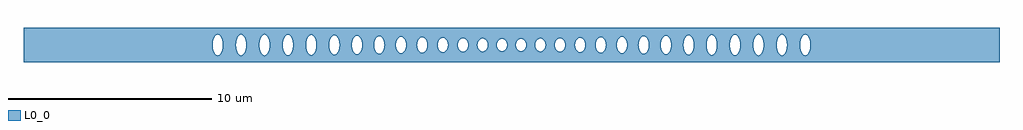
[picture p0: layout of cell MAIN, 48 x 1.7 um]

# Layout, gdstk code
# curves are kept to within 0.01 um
import gdstk
lib = gdstk.Library(unit=1e-6, precision=1e-09)
def P(c, l, *ps):  # polygons
    for p in ps: c.add(gdstk.Polygon(p, *l))
L0_0 = (0, 0)

main = lib.new_cell('MAIN')
P(main, L0_0, [(-14.538,-0.487),(-14.602,-0.417),(-14.659,-0.296),(-14.659,-0.85),(-14.538,-0.85)],
  [(-14.532,0.492),(-14.463,0.52),(-14.384,0.505),(-14.311,0.442),(-14.251,0.337),(-14.251,0.85),(-14.538,0.85)],
  [(-14.251,-0.337),(-14.311,-0.442),(-14.384,-0.505),(-14.463,-0.52),(-14.538,-0.487),(-14.538,-0.85),(-14.251,-0.85)],
  [(24,0.85),(14.659,0.85),(14.659,0.296),(14.691,0.165),(14.705,0.013),(14.698,-0.121),(14.659,-0.296),(14.659,-0.85),(24,-0.85)],
  [(-13.52,0.258),(-13.466,0.392),(-13.399,0.478),(-13.328,0.517),(-13.255,0.514),(-13.255,0.85),(-13.521,0.85)],
  [(-13.255,-0.514),(-13.328,-0.517),(-13.399,-0.478),(-13.466,-0.392),(-13.521,-0.253),(-13.521,-0.85),(-13.255,-0.85)],
  [(-13.043,0.85),(-13.255,0.85),(-13.255,0.514),(-13.194,0.478),(-13.122,0.384),(-13.071,0.253),(-13.043,0.096)],
  [(-13.043,-0.096),(-13.071,-0.253),(-13.122,-0.384),(-13.194,-0.478),(-13.255,-0.514),(-13.255,-0.85),(-13.043,-0.85)],
  [(-13.554,0.006),(-13.521,0.253),(-13.521,0.85),(-14.251,0.85),(-14.251,0.337),(-14.207,0.189),(-14.19,0)],
  [(-12.273,0.452),(-12.209,0.505),(-12.123,0.519),(-12.049,0.483),(-11.984,0.405),(-11.984,0.85),(-12.279,0.85)],
  [(-11.984,-0.405),(-12.049,-0.483),(-12.13,-0.52),(-12.209,-0.505),(-12.279,-0.445),(-12.279,-0.85),(-11.984,-0.85)],
  [(-12.403,0.006),(-12.371,0.253),(-12.329,0.366),(-12.279,0.445),(-12.279,0.85),(-13.043,0.85),(-13.039,0)],
  [(-11.238,0.17),(-11.195,0.326),(-11.141,0.426),(-11.069,0.495),(-11,0.516),(-11,0.85),(-11.239,0.85)],
  [(-11,-0.516),(-11.081,-0.487),(-11.154,-0.407),(-11.21,-0.285),(-11.239,-0.164),(-11.239,-0.85),(-11,-0.85)],
  [(-10.993,0.516),(-10.921,0.495),(-10.846,0.422),(-10.787,0.306),(-10.754,0.182),(-10.754,0.85),(-11,0.85)],
  [(-10.754,-0.182),(-10.787,-0.306),(-10.854,-0.433),(-10.921,-0.495),(-11,-0.516),(-11,-0.85),(-10.754,-0.85)],
  [(-11.252,0.006),(-11.239,0.164),(-11.239,0.85),(-11.984,0.85),(-11.984,0.405),(-11.913,0.224),(-11.888,0)],
  [(-10.012,0.389),(-9.943,0.47),(-9.868,0.504),(-9.787,0.491),(-9.716,0.433),(-9.716,0.85),(-10.015,0.85)],
  [(-9.716,-0.433),(-9.787,-0.491),(-9.868,-0.504),(-9.943,-0.47),(-10.015,-0.385),(-10.015,-0.85),(-9.716,-0.85)],
  [(-10.106,0.006),(-10.083,0.209),(-10.015,0.385),(-10.015,0.85),(-10.754,0.85),(-10.754,0.182),(-10.737,0)],
  [(-8.965,0.105),(-8.937,0.244),(-8.89,0.356),(-8.822,0.443),(-8.74,0.485),(-8.74,0.85),(-8.966,0.85)],
  [(-8.74,-0.485),(-8.822,-0.443),(-8.89,-0.356),(-8.937,-0.244),(-8.966,-0.099),(-8.966,-0.85),(-8.74,-0.85)],
  [(-8.733,0.487),(-8.645,0.471),(-8.576,0.413),(-8.521,0.325),(-8.477,0.194),(-8.477,0.85),(-8.74,0.85)],
  [(-8.477,-0.194),(-8.521,-0.325),(-8.585,-0.423),(-8.658,-0.477),(-8.74,-0.485),(-8.74,-0.85),(-8.477,-0.85)],
  [(-8.971,0.006),(-8.966,0.85),(-9.716,0.85),(-9.716,0.433),(-9.667,0.359),(-9.624,0.249),(-9.591,0)],
  [(-7.763,0.356),(-7.694,0.432),(-7.613,0.466),(-7.526,0.449),(-7.456,0.391),(-7.456,0.85),(-7.766,0.85)],
  [(-7.456,-0.391),(-7.526,-0.449),(-7.613,-0.466),(-7.694,-0.432),(-7.766,-0.352),(-7.766,-0.85),(-7.456,-0.85)],
  [(-7.854,0.003),(-7.833,0.187),(-7.766,0.352),(-7.766,0.85),(-8.477,0.85),(-8.477,0.194),(-8.456,0)],
  [(-6.748,0.134),(-6.702,0.28),(-6.649,0.364),(-6.574,0.425),(-6.488,0.442),(-6.488,0.85),(-6.749,0.85)],
  [(-6.488,-0.442),(-6.574,-0.425),(-6.649,-0.364),(-6.708,-0.266),(-6.749,-0.129),(-6.749,-0.85),(-6.488,-0.85)],
  [(-6.249,0.85),(-6.488,0.85),(-6.488,0.442),(-6.401,0.407),(-6.334,0.335),(-6.279,0.221),(-6.249,0.083)],
  [(-6.249,-0.083),(-6.279,-0.221),(-6.334,-0.335),(-6.401,-0.407),(-6.488,-0.442),(-6.488,-0.85),(-6.249,-0.85)],
  [(-6.76,0.006),(-6.749,0.85),(-7.456,0.85),(-7.456,0.391),(-7.37,0.222),(-7.339,0)],
  [(-5.529,0.387),(-5.449,0.416),(-5.361,0.4),(-5.293,0.35),(-5.222,0.238),(-5.222,0.85),(-5.535,0.85)],
  [(-5.222,-0.238),(-5.293,-0.35),(-5.361,-0.4),(-5.449,-0.416),(-5.535,-0.382),(-5.535,-0.85),(-5.222,-0.85)],
  [(-5.691,0.006),(-5.677,0.136),(-5.648,0.229),(-5.591,0.33),(-5.535,0.382),(-5.535,0.85),(-6.249,0.85),(-6.245,0)],
  [(-4.573,0.276),(-4.505,0.351),(-4.417,0.389),(-4.326,0.378),(-4.243,0.319),(-4.243,0.85),(-4.576,0.85)],
  [(-4.243,-0.319),(-4.326,-0.378),(-4.417,-0.389),(-4.505,-0.351),(-4.576,-0.272),(-4.576,-0.85),(-4.243,-0.85)],
  [(-4.648,0.006),(-4.63,0.147),(-4.576,0.272),(-4.576,0.85),(-5.222,0.85),(-5.222,0.238),(-5.192,0.147),(-5.176,0)],
  [(-3.605,0.167),(-3.548,0.273),(-3.467,0.343),(-3.389,0.366),(-3.288,0.345),(-3.288,0.85),(-3.607,0.85)],
  [(-3.288,-0.345),(-3.389,-0.366),(-3.474,-0.339),(-3.548,-0.273),(-3.607,-0.162),(-3.607,-0.85),(-3.288,-0.85)],
  [(-3.633,0.005),(-3.607,0.162),(-3.607,0.85),(-4.243,0.85),(-4.243,0.319),(-4.163,0.182),(-4.134,0)],
  [(-2.636,0.083),(-2.6,0.192),(-2.528,0.288),(-2.435,0.339),(-2.345,0.34),(-2.345,0.85),(-2.637,0.85)],
  [(-2.345,-0.34),(-2.435,-0.339),(-2.528,-0.288),(-2.6,-0.192),(-2.637,-0.078),(-2.637,-0.85),(-2.345,-0.85)],
  [(-2.643,0.005),(-2.637,0.85),(-3.288,0.85),(-3.288,0.345),(-3.225,0.297),(-3.166,0.213),(-3.128,0.101),(-3.118,0)],
  [(-1.675,0.028),(-1.653,0.136),(-1.591,0.243),(-1.514,0.305),(-1.407,0.327),(-1.407,0.85),(-1.675,0.85)],
  [(-1.407,-0.327),(-1.514,-0.305),(-1.591,-0.243),(-1.653,-0.136),(-1.675,-0.023),(-1.675,-0.85),(-1.407,-0.85)],
  [(-1.676,0.003),(-1.675,0.85),(-2.345,0.85),(-2.345,0.34),(-2.257,0.299),(-2.191,0.226),(-2.145,0.123),(-2.129,0)],
  [(-0.726,0.005),(-0.705,0.127),(-0.647,0.229),(-0.561,0.296),(-0.469,0.316),(-0.469,0.85),(-0.726,0.85)],
  [(-0.469,-0.316),(-0.561,-0.296),(-0.647,-0.229),(-0.705,-0.127),(-0.726,0),(-0.726,-0.85),(-0.469,-0.85)],
  [(-0.212,0.85),(-0.469,0.85),(-0.469,0.316),(-0.369,0.292),(-0.285,0.222),(-0.228,0.113),(-0.212,0)],
  [(-0.212,0),(-0.228,-0.113),(-0.285,-0.222),(-0.369,-0.292),(-0.469,-0.316),(-0.469,-0.85),(-0.212,-0.85)],
  [(0.212,0.005),(0.231,0.122),(0.285,0.222),(0.369,0.292),(0.465,0.316),(0.465,0.85),(-0.212,0.85),(-0.212,0)],
  [(0.465,-0.316),(0.369,-0.292),(0.285,-0.222),(0.228,-0.113),(0.212,0),(-0.212,0),(-0.212,-0.85),(0.465,-0.85)],
  [(0.473,0.316),(0.561,0.296),(0.647,0.229),(0.705,0.127),(0.726,0.005),(0.726,0.85),(0.465,0.85)],
  [(0.726,-0.005),(0.705,-0.127),(0.647,-0.229),(0.561,-0.296),(0.465,-0.316),(0.465,-0.85),(0.726,-0.85)],
  [(-0.726,0.85),(-1.407,0.85),(-1.407,0.327),(-1.325,0.306),(-1.241,0.238),(-1.18,0.125),(-1.161,0),(-0.726,0)],
  [(1.409,0.328),(1.512,0.306),(1.596,0.238),(1.652,0.139),(1.675,0.031),(1.675,0.85),(1.401,0.85)],
  [(1.675,-0.031),(1.645,-0.157),(1.578,-0.258),(1.493,-0.314),(1.401,-0.327),(1.401,-0.85),(1.675,-0.85)],
  [(1.161,0.003),(1.175,0.108),(1.231,0.225),(1.312,0.299),(1.401,0.327),(1.401,0.85),(0.726,0.85),(0.726,0)],
  [(2.349,0.341),(2.442,0.337),(2.528,0.288),(2.6,0.192),(2.636,0.083),(2.636,0.85),(2.341,0.85)],
  [(2.636,-0.083),(2.6,-0.192),(2.528,-0.288),(2.435,-0.339),(2.341,-0.34),(2.341,-0.85),(2.636,-0.85)],
  [(2.129,0.005),(2.145,0.123),(2.191,0.226),(2.257,0.299),(2.341,0.34),(2.341,0.85),(1.675,0.85),(1.676,0)],
  [(3.292,0.346),(3.389,0.366),(3.474,0.339),(3.548,0.273),(3.605,0.167),(3.605,0.85),(3.285,0.85)],
  [(3.605,-0.167),(3.548,-0.273),(3.467,-0.343),(3.389,-0.366),(3.285,-0.343),(3.285,-0.85),(3.605,-0.85)],
  [(3.118,0.005),(3.128,0.101),(3.166,0.213),(3.225,0.297),(3.285,0.343),(3.285,0.85),(2.636,0.85),(2.643,0)],
  [(4.246,0.322),(4.336,0.382),(4.417,0.389),(4.505,0.351),(4.573,0.276),(4.573,0.85),(4.24,0.85)],
  [(4.573,-0.276),(4.495,-0.358),(4.409,-0.39),(4.319,-0.375),(4.24,-0.316),(4.24,-0.85),(4.573,-0.85)],
  [(4.134,0.006),(4.163,0.182),(4.24,0.316),(4.24,0.85),(3.605,0.85),(3.605,0.167),(3.633,0)],
  [(5.222,0.238),(5.293,0.35),(5.361,0.4),(5.449,0.416),(5.532,0.384),(5.532,0.85),(5.22,0.85)],
  [(5.532,-0.384),(5.449,-0.416),(5.361,-0.4),(5.276,-0.33),(5.22,-0.233),(5.22,-0.85),(5.532,-0.85)],
  [(5.176,0.006),(5.192,0.147),(5.22,0.233),(5.22,0.85),(4.573,0.85),(4.573,0.276),(4.63,0.147),(4.648,0)],
  [(6.249,0.083),(6.279,0.221),(6.334,0.335),(6.401,0.407),(6.485,0.441),(6.485,0.85),(6.249,0.85)],
  [(6.485,-0.441),(6.401,-0.407),(6.334,-0.335),(6.279,-0.221),(6.249,-0.077),(6.249,-0.85),(6.485,-0.85)],
  [(6.492,0.442),(6.574,0.425),(6.649,0.364),(6.702,0.28),(6.748,0.134),(6.748,0.85),(6.485,0.85)],
  [(6.748,-0.134),(6.702,-0.28),(6.649,-0.364),(6.574,-0.425),(6.485,-0.441),(6.485,-0.85),(6.748,-0.85)],
  [(6.245,0.006),(6.249,0.85),(5.532,0.85),(5.532,0.384),(5.591,0.33),(5.648,0.229),(5.677,0.136),(5.691,0)],
  [(7.458,0.392),(7.534,0.453),(7.611,0.466),(7.696,0.431),(7.762,0.358),(7.762,0.85),(7.452,0.85)],
  [(7.762,-0.358),(7.696,-0.431),(7.611,-0.466),(7.534,-0.453),(7.452,-0.386),(7.452,-0.85),(7.762,-0.85)],
  [(7.339,0.003),(7.371,0.225),(7.452,0.386),(7.452,0.85),(6.748,0.85),(6.748,0.134),(6.76,0)],
  [(8.477,0.194),(8.521,0.325),(8.576,0.413),(8.658,0.477),(8.737,0.486),(8.737,0.85),(8.476,0.85)],
  [(8.737,-0.486),(8.658,-0.477),(8.576,-0.413),(8.521,-0.325),(8.476,-0.188),(8.476,-0.85),(8.737,-0.85)],
  [(8.965,0.85),(8.737,0.85),(8.737,0.486),(8.822,0.443),(8.89,0.356),(8.937,0.244),(8.965,0.105)],
  [(8.965,-0.105),(8.937,-0.244),(8.89,-0.356),(8.822,-0.443),(8.737,-0.486),(8.737,-0.85),(8.965,-0.85)],
  [(8.456,0.006),(8.476,0.188),(8.476,0.85),(7.762,0.85),(7.762,0.358),(7.831,0.195),(7.854,0)],
  [(9.719,0.436),(9.787,0.491),(9.868,0.504),(9.943,0.47),(10.012,0.389),(10.012,0.85),(9.713,0.85)],
  [(10.012,-0.389),(9.943,-0.47),(9.868,-0.504),(9.787,-0.491),(9.713,-0.43),(9.713,-0.85),(10.012,-0.85)],
  [(9.591,0.006),(9.624,0.249),(9.658,0.341),(9.713,0.43),(9.713,0.85),(8.965,0.85),(8.971,0)],
  [(10.754,0.182),(10.787,0.306),(10.846,0.422),(10.921,0.495),(10.996,0.516),(10.996,0.85),(10.753,0.85)],
  [(10.996,-0.516),(10.921,-0.495),(10.846,-0.422),(10.787,-0.306),(10.753,-0.176),(10.753,-0.85),(10.996,-0.85)],
  [(11.238,0.85),(10.996,0.85),(10.996,0.516),(11.069,0.495),(11.141,0.426),(11.195,0.326),(11.238,0.17)],
  [(11.238,-0.17),(11.195,-0.326),(11.141,-0.426),(11.069,-0.495),(10.996,-0.516),(10.996,-0.85),(11.238,-0.85)],
  [(10.737,0.006),(10.753,0.176),(10.753,0.85),(10.012,0.85),(10.012,0.389),(10.083,0.209),(10.106,0)],
  [(11.984,0.405),(12.049,0.483),(12.123,0.519),(12.209,0.505),(12.276,0.449),(12.276,0.85),(11.981,0.85)],
  [(12.276,-0.449),(12.209,-0.505),(12.123,-0.519),(12.049,-0.483),(11.981,-0.401),(11.981,-0.85),(12.276,-0.85)],
  [(11.888,0.006),(11.913,0.224),(11.981,0.401),(11.981,0.85),(11.238,0.85),(11.238,0.17),(11.252,0)],
  [(13.043,0.096),(13.071,0.253),(13.122,0.384),(13.194,0.478),(13.252,0.513),(13.252,0.85),(13.043,0.85)],
  [(13.252,-0.513),(13.171,-0.455),(13.113,-0.366),(13.065,-0.23),(13.043,-0.09),(13.043,-0.85),(13.252,-0.85)],
  [(13.258,0.515),(13.328,0.517),(13.399,0.478),(13.466,0.392),(13.52,0.258),(13.52,0.85),(13.252,0.85)],
  [(13.52,-0.258),(13.466,-0.392),(13.399,-0.478),(13.328,-0.517),(13.252,-0.513),(13.252,-0.85),(13.52,-0.85)],
  [(13.039,0.006),(13.043,0.85),(12.276,0.85),(12.276,0.449),(12.329,0.366),(12.371,0.253),(12.403,0)],
  [(14.251,0.337),(14.311,0.442),(14.384,0.505),(14.463,0.52),(14.535,0.49),(14.535,0.85),(14.249,0.85)],
  [(14.535,-0.49),(14.463,-0.52),(14.384,-0.505),(14.311,-0.442),(14.249,-0.332),(14.249,-0.85),(14.535,-0.85)],
  [(-14.659,-0.296),(-14.691,-0.165),(-14.705,-0.013),(-14.698,0.121),(-14.659,0.296),(-14.659,0.85),(-24,0.85),(-24,-0.85),(-14.659,-0.85)],
  [(-14.657,0.302),(-14.602,0.417),(-14.538,0.487),(-14.538,0.85),(-14.659,0.85)],
  [(14.659,0.85),(14.535,0.85),(14.535,0.49),(14.602,0.417),(14.659,0.296)],
  [(14.659,-0.296),(14.602,-0.417),(14.535,-0.49),(14.535,-0.85),(14.659,-0.85)],
  [(-13.521,-0.253),(-13.554,0),(-14.19,0),(-14.207,-0.189),(-14.251,-0.337),(-14.251,-0.85),(-13.521,-0.85)],
  [(-12.279,-0.445),(-12.329,-0.366),(-12.371,-0.253),(-12.403,0),(-13.039,0),(-13.043,-0.85),(-12.279,-0.85)],
  [(-11.239,-0.164),(-11.252,0),(-11.888,0),(-11.913,-0.224),(-11.984,-0.405),(-11.984,-0.85),(-11.239,-0.85)],
  [(-10.015,-0.385),(-10.083,-0.209),(-10.106,0),(-10.737,0),(-10.754,-0.182),(-10.754,-0.85),(-10.015,-0.85)],
  [(-8.966,-0.099),(-8.971,0),(-9.591,0),(-9.624,-0.249),(-9.658,-0.341),(-9.716,-0.433),(-9.716,-0.85),(-8.966,-0.85)],
  [(-7.766,-0.352),(-7.833,-0.187),(-7.854,0),(-8.456,0),(-8.477,-0.194),(-8.477,-0.85),(-7.766,-0.85)],
  [(-6.749,-0.129),(-6.76,0),(-7.339,0),(-7.37,-0.222),(-7.456,-0.391),(-7.456,-0.85),(-6.749,-0.85)],
  [(-5.535,-0.382),(-5.591,-0.33),(-5.648,-0.229),(-5.677,-0.136),(-5.691,0),(-6.245,0),(-6.249,-0.85),(-5.535,-0.85)],
  [(-4.576,-0.272),(-4.63,-0.147),(-4.648,0),(-5.176,0),(-5.192,-0.147),(-5.222,-0.238),(-5.222,-0.85),(-4.576,-0.85)],
  [(-3.607,-0.162),(-3.633,0),(-4.134,0),(-4.163,-0.182),(-4.243,-0.319),(-4.243,-0.85),(-3.607,-0.85)],
  [(-2.637,-0.078),(-2.643,0),(-3.118,0),(-3.128,-0.101),(-3.166,-0.213),(-3.225,-0.297),(-3.288,-0.345),(-3.288,-0.85),(-2.637,-0.85)],
  [(-1.675,-0.023),(-1.676,0),(-2.129,0),(-2.145,-0.123),(-2.191,-0.226),(-2.257,-0.299),(-2.345,-0.34),(-2.345,-0.85),(-1.675,-0.85)],
  [(-0.726,0),(-1.161,0),(-1.18,-0.125),(-1.241,-0.238),(-1.325,-0.306),(-1.407,-0.327),(-1.407,-0.85),(-0.726,-0.85)],
  [(1.401,-0.327),(1.312,-0.299),(1.231,-0.225),(1.175,-0.108),(1.161,0),(0.726,0),(0.726,-0.85),(1.401,-0.85)],
  [(2.341,-0.34),(2.257,-0.299),(2.186,-0.218),(2.145,-0.123),(2.129,0),(1.676,0),(1.675,-0.85),(2.341,-0.85)],
  [(3.285,-0.343),(3.225,-0.297),(3.166,-0.213),(3.128,-0.101),(3.118,0),(2.643,0),(2.636,-0.85),(3.285,-0.85)],
  [(4.24,-0.316),(4.163,-0.182),(4.134,0),(3.633,0),(3.605,-0.167),(3.605,-0.85),(4.24,-0.85)],
  [(5.22,-0.233),(5.192,-0.147),(5.176,0),(4.648,0),(4.63,-0.147),(4.573,-0.276),(4.573,-0.85),(5.22,-0.85)],
  [(6.249,-0.077),(6.245,0),(5.691,0),(5.677,-0.136),(5.648,-0.229),(5.591,-0.33),(5.532,-0.384),(5.532,-0.85),(6.249,-0.85)],
  [(7.452,-0.386),(7.371,-0.225),(7.339,0),(6.76,0),(6.748,-0.134),(6.748,-0.85),(7.452,-0.85)],
  [(8.476,-0.188),(8.456,0),(7.854,0),(7.831,-0.195),(7.762,-0.358),(7.762,-0.85),(8.476,-0.85)],
  [(9.713,-0.43),(9.658,-0.341),(9.624,-0.249),(9.591,0),(8.971,0),(8.965,-0.85),(9.713,-0.85)],
  [(10.753,-0.176),(10.737,0),(10.106,0),(10.083,-0.209),(10.012,-0.389),(10.012,-0.85),(10.753,-0.85)],
  [(11.981,-0.401),(11.909,-0.207),(11.888,0),(11.252,0),(11.238,-0.17),(11.238,-0.85),(11.981,-0.85)],
  [(13.043,-0.09),(13.039,0),(12.403,0),(12.371,-0.253),(12.329,-0.366),(12.276,-0.449),(12.276,-0.85),(13.043,-0.85)],
  [(14.249,-0.332),(14.207,-0.189),(14.19,0),(13.554,0),(13.52,-0.258),(13.52,-0.85),(14.249,-0.85)],
  [(14.19,0.006),(14.207,0.189),(14.249,0.332),(14.249,0.85),(13.52,0.85),(13.52,0.258),(13.554,0)])

lib.write_gds('MAIN.gds')
